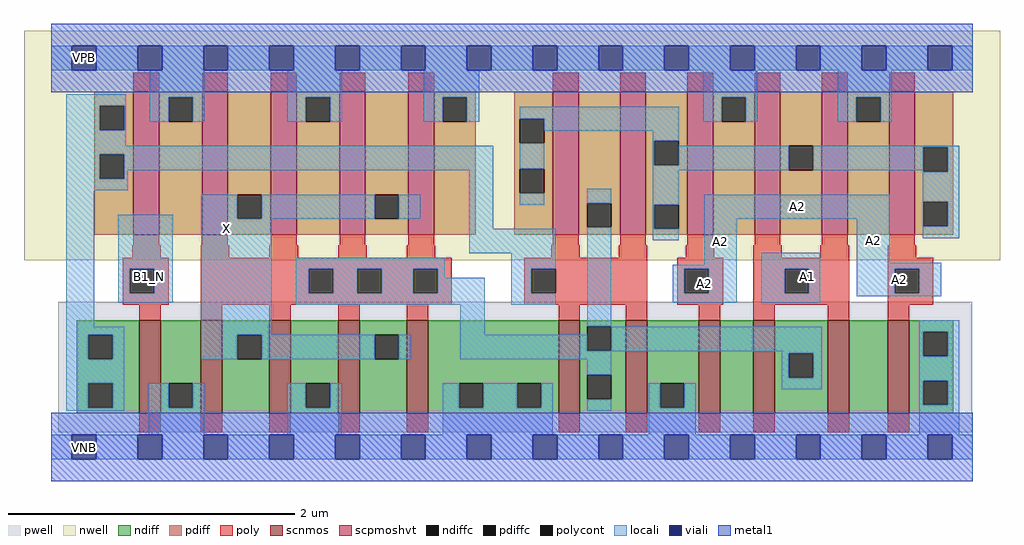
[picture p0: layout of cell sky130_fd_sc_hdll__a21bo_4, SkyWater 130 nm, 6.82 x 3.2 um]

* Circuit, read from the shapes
.subckt sky130_fd_sc_hdll__a21bo_4 A1 A2 B1_N VGND VNB VPB VPWR X
XM1 VGND B1_N n1 VNB sky130_fd_pr__nfet_01v8 w=0.65 l=0.15
XM2 X n2 VGND VNB sky130_fd_pr__nfet_01v8 w=0.65 l=0.15 m=4
XM3 n2 n1 VGND VNB sky130_fd_pr__nfet_01v8 w=0.65 l=0.15 m=2
XM4 n3 A2 VGND VNB sky130_fd_pr__nfet_01v8 w=0.65 l=0.15
XM5 n2 A1 n3 VNB sky130_fd_pr__nfet_01v8 w=0.65 l=0.15
XM6 n4 A1 n2 VNB sky130_fd_pr__nfet_01v8 w=0.65 l=0.15
XM7 VGND A2 n4 VNB sky130_fd_pr__nfet_01v8 w=0.65 l=0.15
XM8 VPWR B1_N n1 VPB sky130_fd_pr__pfet_01v8_hvt w=1 l=0.18
XM9 X n2 VPWR VPB sky130_fd_pr__pfet_01v8_hvt w=1 l=0.18 m=4
XM10 n2 n1 n5 VPB sky130_fd_pr__pfet_01v8_hvt w=1 l=0.18 m=2
XM11 VPWR A2 n5 VPB sky130_fd_pr__pfet_01v8_hvt w=1 l=0.18 m=2
XM12 n5 A1 VPWR VPB sky130_fd_pr__pfet_01v8_hvt w=1 l=0.18 m=2
.ends

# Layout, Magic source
magic
tech sky130A
magscale 1 2
<< nwell >>
rect -38 261 1326 582
<< pwell >>
rect 10 21 1287 203
rect 29 -17 63 21
<< scnmos >>
rect 123 47 153 177
rect 209 47 239 177
rect 305 47 335 177
rect 401 47 431 177
rect 497 47 527 177
rect 709 47 739 177
rect 803 47 833 177
rect 905 47 935 177
rect 981 47 1011 177
rect 1085 47 1115 177
rect 1169 47 1199 177
<< scpmoshvt >>
rect 115 297 151 497
rect 211 297 247 497
rect 307 297 343 497
rect 403 297 439 497
rect 499 297 535 497
rect 701 297 737 497
rect 795 297 831 497
rect 889 297 925 497
rect 983 297 1019 497
rect 1077 297 1113 497
rect 1171 297 1207 497
<< ndiff >>
rect 36 157 123 177
rect 36 123 52 157
rect 86 123 123 157
rect 36 89 123 123
rect 36 55 52 89
rect 86 55 123 89
rect 36 47 123 55
rect 153 89 209 177
rect 153 55 164 89
rect 198 55 209 89
rect 153 47 209 55
rect 239 157 305 177
rect 239 123 260 157
rect 294 123 305 157
rect 239 47 305 123
rect 335 89 401 177
rect 335 55 356 89
rect 390 55 401 89
rect 335 47 401 55
rect 431 157 497 177
rect 431 123 452 157
rect 486 123 497 157
rect 431 47 497 123
rect 527 89 709 177
rect 527 55 570 89
rect 604 55 651 89
rect 685 55 709 89
rect 527 47 709 55
rect 739 169 803 177
rect 739 135 749 169
rect 783 135 803 169
rect 739 101 803 135
rect 739 67 749 101
rect 783 67 803 101
rect 739 47 803 67
rect 833 89 905 177
rect 833 55 851 89
rect 885 55 905 89
rect 833 47 905 55
rect 935 47 981 177
rect 1011 131 1085 177
rect 1011 97 1031 131
rect 1065 97 1085 131
rect 1011 47 1085 97
rect 1115 47 1169 177
rect 1199 161 1261 177
rect 1199 127 1219 161
rect 1253 127 1261 161
rect 1199 93 1261 127
rect 1199 59 1219 93
rect 1253 59 1261 93
rect 1199 47 1261 59
<< pdiff >>
rect 60 477 115 497
rect 60 443 68 477
rect 102 443 115 477
rect 60 409 115 443
rect 60 375 68 409
rect 102 375 115 409
rect 60 297 115 375
rect 151 489 211 497
rect 151 455 164 489
rect 198 455 211 489
rect 151 297 211 455
rect 247 353 307 497
rect 247 319 260 353
rect 294 319 307 353
rect 247 297 307 319
rect 343 489 403 497
rect 343 455 356 489
rect 390 455 403 489
rect 343 297 403 455
rect 439 353 499 497
rect 439 319 452 353
rect 486 319 499 353
rect 439 297 499 319
rect 535 489 593 497
rect 535 455 547 489
rect 581 455 593 489
rect 535 297 593 455
rect 647 459 701 497
rect 647 425 655 459
rect 689 425 701 459
rect 647 389 701 425
rect 647 355 655 389
rect 689 355 701 389
rect 647 297 701 355
rect 737 341 795 497
rect 737 307 749 341
rect 783 307 795 341
rect 737 297 795 307
rect 831 428 889 497
rect 831 394 843 428
rect 877 394 889 428
rect 831 339 889 394
rect 831 305 843 339
rect 877 305 889 339
rect 831 297 889 305
rect 925 489 983 497
rect 925 455 937 489
rect 971 455 983 489
rect 925 297 983 455
rect 1019 421 1077 497
rect 1019 387 1031 421
rect 1065 387 1077 421
rect 1019 297 1077 387
rect 1113 489 1171 497
rect 1113 455 1125 489
rect 1159 455 1171 489
rect 1113 297 1171 455
rect 1207 419 1261 497
rect 1207 385 1219 419
rect 1253 385 1261 419
rect 1207 343 1261 385
rect 1207 309 1219 343
rect 1253 309 1261 343
rect 1207 297 1261 309
<< ndiffc >>
rect 52 123 86 157
rect 52 55 86 89
rect 164 55 198 89
rect 260 123 294 157
rect 356 55 390 89
rect 452 123 486 157
rect 570 55 604 89
rect 651 55 685 89
rect 749 135 783 169
rect 749 67 783 101
rect 851 55 885 89
rect 1031 97 1065 131
rect 1219 127 1253 161
rect 1219 59 1253 93
<< pdiffc >>
rect 68 443 102 477
rect 68 375 102 409
rect 164 455 198 489
rect 260 319 294 353
rect 356 455 390 489
rect 452 319 486 353
rect 547 455 581 489
rect 655 425 689 459
rect 655 355 689 389
rect 749 307 783 341
rect 843 394 877 428
rect 843 305 877 339
rect 937 455 971 489
rect 1031 387 1065 421
rect 1125 455 1159 489
rect 1219 385 1253 419
rect 1219 309 1253 343
<< poly >>
rect 115 497 151 523
rect 211 497 247 523
rect 307 497 343 523
rect 403 497 439 523
rect 499 497 535 523
rect 701 497 737 523
rect 795 497 831 523
rect 889 497 925 523
rect 983 497 1019 523
rect 1077 497 1113 523
rect 1171 497 1207 523
rect 115 282 151 297
rect 211 282 247 297
rect 307 282 343 297
rect 403 282 439 297
rect 499 282 535 297
rect 701 282 737 297
rect 795 282 831 297
rect 889 282 925 297
rect 983 282 1019 297
rect 1077 282 1113 297
rect 1171 282 1207 297
rect 113 265 153 282
rect 209 265 249 282
rect 305 265 345 282
rect 401 265 441 282
rect 497 265 537 282
rect 699 265 739 282
rect 793 265 833 282
rect 887 265 927 282
rect 981 265 1021 282
rect 1075 265 1115 282
rect 100 249 164 265
rect 100 215 110 249
rect 144 215 164 249
rect 100 199 164 215
rect 209 249 560 265
rect 209 215 360 249
rect 394 215 428 249
rect 462 215 506 249
rect 540 215 560 249
rect 209 199 560 215
rect 661 249 833 265
rect 661 215 671 249
rect 705 215 833 249
rect 661 199 833 215
rect 875 249 939 265
rect 875 215 885 249
rect 919 215 939 249
rect 875 199 939 215
rect 981 249 1115 265
rect 981 215 1025 249
rect 1059 215 1115 249
rect 981 199 1115 215
rect 123 177 153 199
rect 209 177 239 199
rect 305 177 335 199
rect 401 177 431 199
rect 497 177 527 199
rect 709 177 739 199
rect 803 177 833 199
rect 905 177 935 199
rect 981 177 1011 199
rect 1085 177 1115 199
rect 1169 265 1209 282
rect 1169 249 1233 265
rect 1169 215 1179 249
rect 1213 215 1233 249
rect 1169 199 1233 215
rect 1169 177 1199 199
rect 123 21 153 47
rect 209 21 239 47
rect 305 21 335 47
rect 401 21 431 47
rect 497 21 527 47
rect 709 21 739 47
rect 803 21 833 47
rect 905 21 935 47
rect 981 21 1011 47
rect 1085 21 1115 47
rect 1169 21 1199 47
<< polycont >>
rect 110 215 144 249
rect 360 215 394 249
rect 428 215 462 249
rect 506 215 540 249
rect 671 215 705 249
rect 885 215 919 249
rect 1025 215 1059 249
rect 1179 215 1213 249
<< locali >>
rect 0 527 29 561
rect 63 527 121 561
rect 155 527 213 561
rect 247 527 305 561
rect 339 527 397 561
rect 431 527 489 561
rect 523 527 581 561
rect 615 527 673 561
rect 707 527 765 561
rect 799 527 857 561
rect 891 527 949 561
rect 983 527 1041 561
rect 1075 527 1133 561
rect 1167 527 1225 561
rect 1259 527 1288 561
rect 21 477 104 493
rect 21 443 68 477
rect 102 443 104 477
rect 138 489 214 527
rect 138 455 164 489
rect 198 455 214 489
rect 330 489 406 527
rect 330 455 356 489
rect 390 455 406 489
rect 521 489 598 527
rect 521 455 547 489
rect 581 455 598 489
rect 911 489 987 527
rect 655 459 877 476
rect 21 421 104 443
rect 689 442 877 459
rect 911 455 937 489
rect 971 455 987 489
rect 1099 489 1175 527
rect 1099 455 1125 489
rect 1159 455 1175 489
rect 21 409 618 421
rect 21 375 68 409
rect 102 387 618 409
rect 102 375 107 387
rect 21 359 107 375
rect 21 168 60 359
rect 94 249 170 325
rect 94 215 110 249
rect 144 215 170 249
rect 94 202 170 215
rect 210 319 260 353
rect 294 319 452 353
rect 486 319 516 353
rect 21 157 102 168
rect 21 123 52 157
rect 86 123 102 157
rect 210 157 308 319
rect 584 305 618 387
rect 655 389 689 425
rect 841 428 877 442
rect 841 394 843 428
rect 877 394 1031 421
rect 841 387 1031 394
rect 1065 419 1269 421
rect 1065 387 1219 419
rect 655 339 689 355
rect 749 341 783 361
rect 584 271 705 305
rect 342 249 550 265
rect 342 215 360 249
rect 394 215 428 249
rect 462 215 506 249
rect 540 237 550 249
rect 643 249 705 271
rect 540 215 606 237
rect 342 199 606 215
rect 643 215 671 249
rect 643 199 705 215
rect 572 157 606 199
rect 749 169 783 307
rect 841 339 877 387
rect 1218 385 1219 387
rect 1253 385 1269 419
rect 841 305 843 339
rect 841 289 877 305
rect 913 319 1172 353
rect 913 255 958 319
rect 869 249 958 255
rect 869 215 885 249
rect 919 215 958 249
rect 869 202 958 215
rect 992 249 1075 272
rect 992 215 1025 249
rect 1059 215 1075 249
rect 992 202 1075 215
rect 1126 258 1172 319
rect 1218 343 1269 385
rect 1218 309 1219 343
rect 1253 309 1269 343
rect 1218 292 1269 309
rect 1126 249 1244 258
rect 1126 215 1179 249
rect 1213 215 1244 249
rect 1126 211 1244 215
rect 210 123 260 157
rect 294 123 452 157
rect 486 123 502 157
rect 572 135 749 157
rect 783 135 1077 168
rect 572 134 1077 135
rect 572 123 783 134
rect 21 89 102 123
rect 749 101 783 123
rect 21 55 52 89
rect 86 55 102 89
rect 21 51 102 55
rect 136 55 164 89
rect 198 55 214 89
rect 136 17 214 55
rect 330 55 356 89
rect 390 55 406 89
rect 330 17 406 55
rect 547 55 570 89
rect 604 55 651 89
rect 685 55 701 89
rect 547 17 701 55
rect 1021 131 1077 134
rect 1021 97 1031 131
rect 1065 97 1077 131
rect 749 51 783 67
rect 835 55 851 89
rect 885 55 901 89
rect 1021 81 1077 97
rect 1213 161 1269 177
rect 1213 127 1219 161
rect 1253 127 1269 161
rect 1213 93 1269 127
rect 835 17 901 55
rect 1213 59 1219 93
rect 1253 59 1269 93
rect 1213 17 1269 59
rect 0 -17 29 17
rect 63 -17 121 17
rect 155 -17 213 17
rect 247 -17 305 17
rect 339 -17 397 17
rect 431 -17 489 17
rect 523 -17 581 17
rect 615 -17 673 17
rect 707 -17 765 17
rect 799 -17 857 17
rect 891 -17 949 17
rect 983 -17 1041 17
rect 1075 -17 1133 17
rect 1167 -17 1225 17
rect 1259 -17 1288 17
<< viali >>
rect 29 527 63 561
rect 121 527 155 561
rect 213 527 247 561
rect 305 527 339 561
rect 397 527 431 561
rect 489 527 523 561
rect 581 527 615 561
rect 673 527 707 561
rect 765 527 799 561
rect 857 527 891 561
rect 949 527 983 561
rect 1041 527 1075 561
rect 1133 527 1167 561
rect 1225 527 1259 561
rect 29 -17 63 17
rect 121 -17 155 17
rect 213 -17 247 17
rect 305 -17 339 17
rect 397 -17 431 17
rect 489 -17 523 17
rect 581 -17 615 17
rect 673 -17 707 17
rect 765 -17 799 17
rect 857 -17 891 17
rect 949 -17 983 17
rect 1041 -17 1075 17
rect 1133 -17 1167 17
rect 1225 -17 1259 17
<< metal1 >>
rect 0 561 1288 592
rect 0 527 29 561
rect 63 527 121 561
rect 155 527 213 561
rect 247 527 305 561
rect 339 527 397 561
rect 431 527 489 561
rect 523 527 581 561
rect 615 527 673 561
rect 707 527 765 561
rect 799 527 857 561
rect 891 527 949 561
rect 983 527 1041 561
rect 1075 527 1133 561
rect 1167 527 1225 561
rect 1259 527 1288 561
rect 0 496 1288 527
rect 0 17 1288 48
rect 0 -17 29 17
rect 63 -17 121 17
rect 155 -17 213 17
rect 247 -17 305 17
rect 339 -17 397 17
rect 431 -17 489 17
rect 523 -17 581 17
rect 615 -17 673 17
rect 707 -17 765 17
rect 799 -17 857 17
rect 891 -17 949 17
rect 983 -17 1041 17
rect 1075 -17 1133 17
rect 1167 -17 1225 17
rect 1259 -17 1288 17
rect 0 -48 1288 -17
<< labels >>
flabel locali s 115 221 159 255 0 FreeSans 340 0 0 0 B1_N
port 3 nsew signal input
flabel locali s 1126 258 1172 319 0 FreeSans 340 0 0 0 A2
port 2 nsew signal input
flabel locali s 1040 221 1074 255 0 FreeSans 340 0 0 0 A1
port 1 nsew signal input
flabel locali s 223 289 267 323 0 FreeSans 340 0 0 0 X
port 8 nsew signal output
flabel pwell s 29 -17 63 17 0 FreeSans 200 0 0 0 VNB
port 5 nsew ground bidirectional
flabel nwell s 29 527 63 561 0 FreeSans 200 0 0 0 VPB
port 6 nsew power bidirectional
flabel metal1 s 29 -17 63 17 0 FreeSans 200 0 0 0 VGND
port 4 nsew ground bidirectional
flabel metal1 s 29 527 63 561 0 FreeSans 200 0 0 0 VPWR
port 7 nsew power bidirectional
rlabel locali s 1126 211 1244 258 1 A2
port 2 nsew signal input
rlabel locali s 913 319 1172 353 1 A2
port 2 nsew signal input
rlabel locali s 913 255 958 319 1 A2
port 2 nsew signal input
rlabel locali s 869 202 958 255 1 A2
port 2 nsew signal input
<< properties >>
string LEFsite unithd
string LEFclass CORE
string FIXED_BBOX 0 0 1288 544
string GDS_FILE $PDKPATH/libs.ref/sky130_fd_sc_hdll/gds/sky130_fd_sc_hdll.gds
string LEFsymmetry X Y R90
string GDS_END 1612116
string GDS_START 1603446
string LEFproperties maskLayoutSubType "abstract" prCellType "standard" originalViewName "layout"
<< end >>
